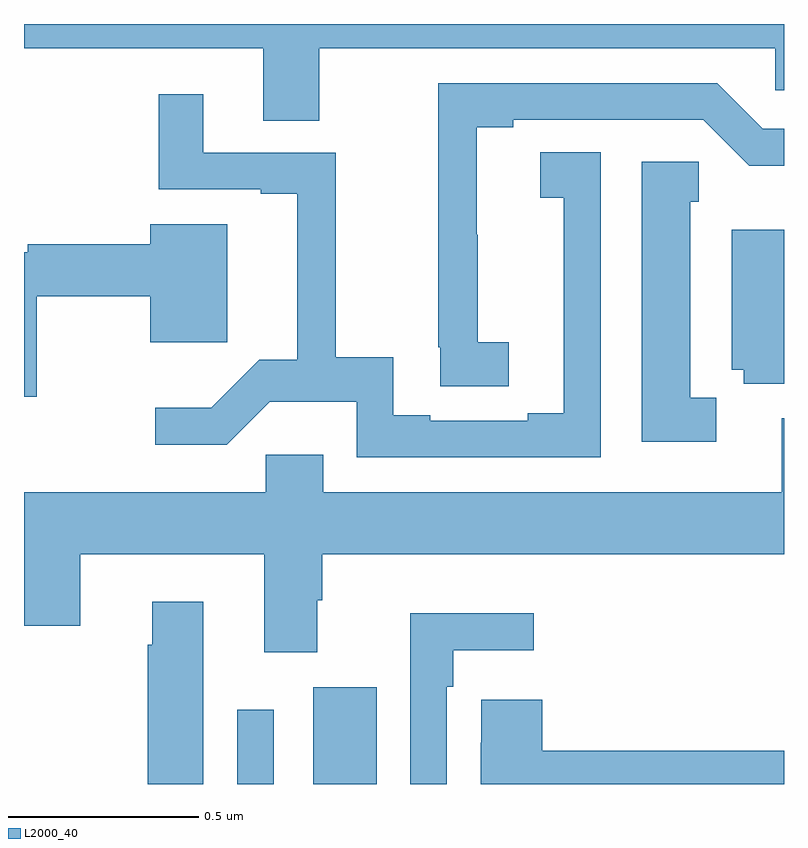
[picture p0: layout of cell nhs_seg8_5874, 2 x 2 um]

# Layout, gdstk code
import gdstk
lib = gdstk.Library(unit=1e-6, precision=1e-09)
def R(c, l, rs):  # rectangles x0, y0, x1, y1
    for r in rs: c.add(gdstk.rectangle(r[:2], r[2:], *l))
def P(c, l, *ps):  # polygons
    for p in ps: c.add(gdstk.Polygon(p, *l))
L2000_40 = (2000, 40)

nhs_seg8_5874 = lib.new_cell('nhs_seg8_5874')
R(nhs_seg8_5874, L2000_40, [(189.561,1111.9,189.657,1112.095), (189.761,1111.9,189.928,1112.155)])
P(nhs_seg8_5874, L2000_40, [(189.777,1113.836),(190.977,1113.836),(190.977,1113.726),(191,1113.726),(191,1113.9),(189,1113.9),(189,1113.836),(189.629,1113.836),(189.629,1113.646),(189.777,1113.646)],
  [(190.276,1113.062),(190.194,1113.062),(190.194,1113.345),(190.192,1113.345),(190.192,1113.628),(190.288,1113.628),(190.288,1113.648),(190.788,1113.648),(190.909,1113.527),(191,1113.527),(191,1113.624),(190.944,1113.624),(190.824,1113.744),(190.09,1113.744),(190.09,1113.049),(190.096,1113.049),(190.096,1112.947),(190.276,1112.947)],
  [(190.518,1113.563),(190.359,1113.563),(190.359,1113.443),(190.42,1113.443),(190.42,1113.139),(190.421,1113.139),(190.421,1112.876),(190.325,1112.876),(190.325,1112.856),(190.069,1112.856),(190.069,1112.87),(189.972,1112.87),(189.972,1113.023),(189.821,1113.023),(189.821,1113.561),(189.472,1113.561),(189.472,1113.715),(189.355,1113.715),(189.355,1113.465),(189.623,1113.465),(189.623,1113.453),(189.719,1113.453),(189.719,1113.016),(189.619,1113.016),(189.493,1112.89),(189.345,1112.89),(189.345,1112.793),(189.534,1112.793),(189.647,1112.906),(189.876,1112.906),(189.876,1112.76),(190.518,1112.76)],
  [(190.822,1112.916),(190.753,1112.916),(190.753,1113.432),(190.775,1113.432),(190.775,1113.538),(190.625,1113.538),(190.625,1112.801),(190.822,1112.801)],
  [(189.034,1113.184),(189.332,1113.184),(189.332,1113.063),(189.535,1113.063),(189.535,1113.373),(189.332,1113.373),(189.332,1113.32),(189.01,1113.32),(189.01,1113.3),(189,1113.3),(189,1112.919),(189.034,1112.919)],
  [(191,1113.358),(190.862,1113.358),(190.862,1112.99),(190.894,1112.99),(190.894,1112.953),(191,1112.953)],
  [(189.772,1112.384),(189.785,1112.384),(189.785,1112.504),(191,1112.504),(191,1112.863),(190.994,1112.863),(190.994,1112.668),(189.787,1112.668),(189.787,1112.766),(189.636,1112.766),(189.636,1112.668),(189,1112.668),(189,1112.316),(189.148,1112.316),(189.148,1112.504),(189.632,1112.504),(189.632,1112.247),(189.772,1112.247)],
  [(189.472,1112.38),(189.338,1112.38),(189.338,1112.267),(189.326,1112.267),(189.326,1111.9),(189.472,1111.9)],
  [(190.113,1112.156),(190.129,1112.156),(190.129,1112.252),(190.342,1112.252),(190.342,1112.35),(190.017,1112.35),(190.017,1111.9),(190.113,1111.9)],
  [(191,1111.988),(190.364,1111.988),(190.364,1112.122),(190.203,1112.122),(190.203,1112.009),(190.202,1112.009),(190.202,1111.9),(191,1111.9)])

lib.write_gds('nhs_seg8_5874.gds')
